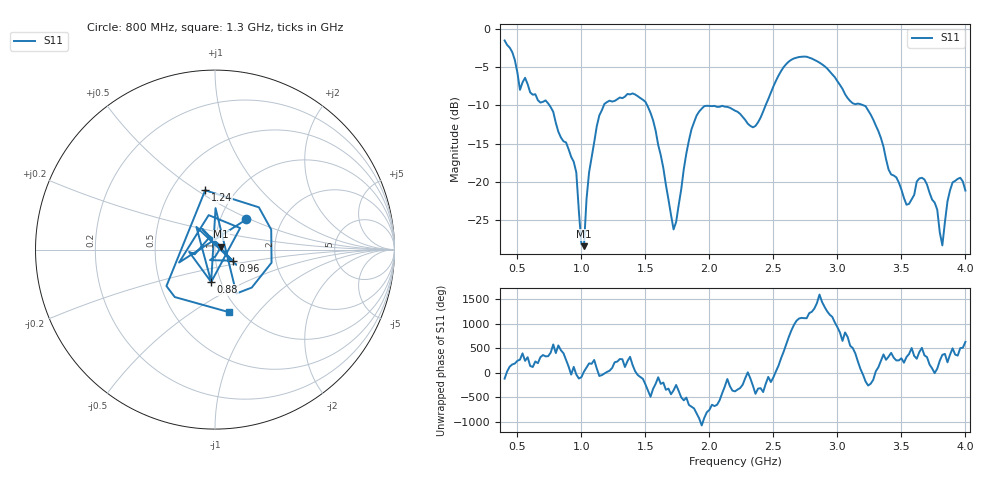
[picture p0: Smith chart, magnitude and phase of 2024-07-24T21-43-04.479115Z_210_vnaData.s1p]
!Created with skrf (http://scikit-rf.org).
# Hz S RI R 50.0
!freq ReS11 ImS11
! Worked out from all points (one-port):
!   181 points, 400 MHz to 4 GHz, reference 50 ohm
!   lowest |S11| = -28.4 dB at 1.02 GHz (marker M1), VSWR 1.08, Z = 53.6 + j1.73 ohm
!   |S11| at or under -10 dB: 750.8 MHz to 1.175 GHz (424.4 MHz wide, 44.1 % of centre); 1.514 GHz to 2.439 GHz (924.8 MHz wide, 46.8 % of centre); 3.205 GHz to end of sweep
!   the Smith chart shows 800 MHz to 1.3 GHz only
!   S11 on the Smith chart (normalised r, x): 800 MHz: 1.33, +0.48; 880 MHz: 0.90, -0.34; 960 MHz: 1.21, -0.15; 1.24 GHz: 0.73, +0.54; 1.3 GHz: 0.90, -0.71
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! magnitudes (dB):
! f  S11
! 400 MHz  -1.5
! 520 MHz  -8.0
! 800 MHz  -12.3
! 860 MHz  -14.7
! 880 MHz  -14.8
! 960 MHz  -18.7
! 1 GHz  -28.1
! 1.02 GHz  -28.4
! 1.06 GHz  -18.7
! 1.12 GHz  -12.7
! 1.24 GHz  -9.5
! 1.3 GHz  -9.0
! 1.5 GHz  -9.5
! 1.58 GHz  -13.3
! 1.72 GHz  -26.2
! 1.76 GHz  -23.0
! 1.9 GHz  -11.3
! 2.2 GHz  -10.7
! 2.36 GHz  -12.7
! 2.66 GHz  -3.9
! 3.1 GHz  -9.4
! 3.26 GHz  -11.2
! 3.56 GHz  -22.8
! 3.68 GHz  -19.7
! 3.78 GHz  -23.6
! 3.82 GHz  -28.3
! 3.9 GHz  -20.0
! 4 GHz  -21.1
